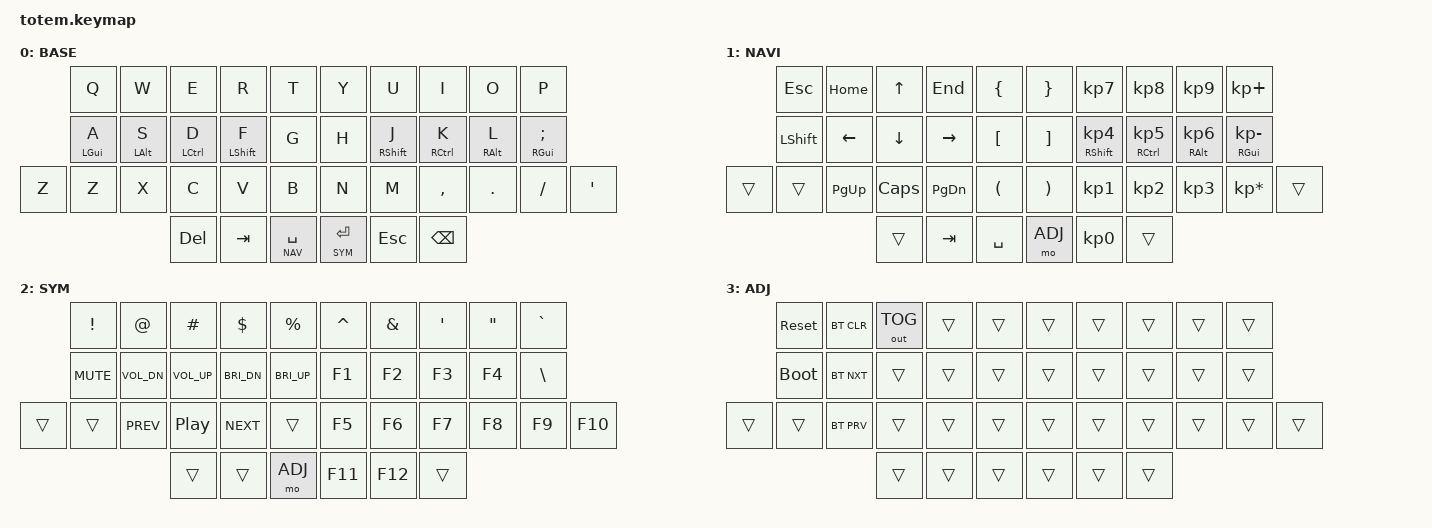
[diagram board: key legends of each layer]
//
//                                                        ▀▀▀▀▀     ▀▀▀▀▀          ▀▀█▀▀
//                                                        ▄▀▀▀▄  ▄  ▄▀▀▀▄  ▄  ▄▀▀▀▄  █  ▄▀▀▀▄
//                                                        █   █  █  █   █  █  █   █  █  █   █
//                                                         ▀▀▀   █   ▀▀▀   █   ▀▀▀   ▀   ▀▀▀
//                                                               █      ▄▄▄█▄▄▄    █   █  
//                                                               ▀      █  █  █     █▄█
//                                                             ▀▀▀▀▀    █  █  █      ▀
//                                                                      ▀  ▀  ▀
//
// ▄▄▄▄▄▄▄▄▄▄▄▄▄▄▄▄▄▄▄▄▄▄▄▄▄▄▄▄▄▄▄▄▄▄▄▄▄▄▄▄▄▄▄▄▄▄▄▄▄▄▄▄▄▄▄▄▄▄▄▄▄▄▄▄▄▄▄▄▄▄▄▄▄▄▄▄▄▄▄▄▄▄▄▄▄▄▄▄▄▄▄▄▄▄▄▄▄▄▄▄▄▄▄▄▄▄▄▄▄▄▄▄▄▄▄▄▄▄▄▄▄▄▄▄▄▄▄▄▄▄▄▄▄▄▄▄▄▄▄▄▄▄▄▄▄▄▄▄▄
       

#include <behaviors.dtsi>
#include <dt-bindings/zmk/keys.h>
#include <dt-bindings/zmk/bt.h>
#include <dt-bindings/zmk/outputs.h>

#define BASE 0
#define NAV  1
#define SYM  2
#define ADJ  3

&mt {
  quick-tap-ms = <100>;
  global-quick-tap;
  flavor = "tap-preferred";
  tapping-term-ms = <170>;
};

/ {
    combos {
            compatible = "zmk,combos";
            combo_esc {
                timeout-ms = <50>;
                key-positions = <0 1>;
                bindings = <&kp ESC>;
            };
    };

    macros {
        gif: gif {
            label = "giphy";
            compatible = "zmk,behavior-macro";
            #binding-cells = <0>;
            bindings
                = <&macro_press &kp LSHFT>
                , <&macro_tap &kp N2>
                , <&macro_release &kp LSHFT>
                , <&macro_tap &kp G &kp I &kp F>
                ;
        };
    };

        keymap {
                compatible = "zmk,keymap";
// ▄▄▄▄▄▄▄▄▄▄▄▄▄▄▄▄▄▄▄▄▄▄▄▄▄▄▄▄▄▄▄▄▄▄▄▄▄▄▄▄▄▄▄▄▄▄▄▄▄▄▄▄▄▄▄▄▄▄▄▄▄▄▄▄▄▄▄▄▄▄▄▄▄▄▄▄▄▄▄▄▄▄▄▄▄▄▄▄▄▄▄▄▄▄▄▄▄▄▄▄▄▄▄▄▄▄▄▄▄▄▄▄▄▄▄▄▄▄▄▄▄▄▄▄▄▄▄▄▄▄▄▄▄▄▄▄▄▄▄▄▄▄▄▄▄▄▄▄▄

                base_layer {
// ┏━━━━━━━━━━━━━━━━━━━━━━━━━━━━━━━━━━━━━━━┓
label= "BASE"                              ;
// ┗━━━━━━━━━━━━━━━━━━━━━━━━━━━━━━━━━━━━━━━┛
//             ┏━━━━━━━━━━━┳━━━━━━━━━━━┳━━━━━━━━━━━┳━━━━━━━━━━━┳━━━━━━━━━━━┓   ┏━━━━━━━━━━━┳━━━━━━━━━━━┳━━━━━━━━━━━┳━━━━━━━━━━━┳━━━━━━━━━━━┓
//             ┃     Q     ┃     W     ┃     E     ┃     R     ┃     T     ┃   ┃     Y     ┃     U     ┃     I     ┃     O     ┃     P     ┃
//             ┣━━━━━━━━━━━╋━━━━━━━━━━━╋━━━━━━━━━━━╋━━━━━━━━━━━╋━━━━━━━━━━━┫   ┣━━━━━━━━━━━╋━━━━━━━━━━━╋━━━━━━━━━━━╋━━━━━━━━━━━╋━━━━━━━━━━━┫
//             ┃     A     ┃     S     ┃     D     ┃     F     ┃     G     ┃   ┃     H     ┃     J     ┃     K     ┃     L     ┃     ;     ┃
// ┏━━━━━━━━━━━╋━━━━━━━━━━━╋━━━━━━━━━━━╋━━━━━━━━━━━╋━━━━━━━━━━━╋━━━━━━━━━━━┫   ┣━━━━━━━━━━━╋━━━━━━━━━━━╋━━━━━━━━━━━╋━━━━━━━━━━━╋━━━━━━━━━━━╋━━━━━━━━━━━┓
// ┃           ┃     Z     ┃     X     ┃     C     ┃     V     ┃     B     ┃   ┃     N     ┃     M     ┃     ,     ┃     .     ┃     /     ┃     "     ┃
// ┗━━━━━━━━━━━┻━━━━━━━━━━━┻━━━━━━━━━━━╋━━━━━━━━━━━╋━━━━━━━━━━━╋━━━━━━━━━━━┫   ┣━━━━━━━━━━━╋━━━━━━━━━━━╋━━━━━━━━━━━╋━━━━━━━━━━━┻━━━━━━━━━━━┻━━━━━━━━━━━┛
//                                     ┃    DEL    ┃    TAB    ┃    SPC    ┃   ┃   ENTER   ┃    ESC    ┃    BSPC   ┃
//                                     ┗━━━━━━━━━━━┻━━━━━━━━━━━┻━━━━━━━━━━━┛   ┗━━━━━━━━━━━┻━━━━━━━━━━━┻━━━━━━━━━━━┛
 bindings = <
// ╷           ╷           ╷           ╷           ╷           ╷           ╷   ╷           ╷           ╷           ╷           ╷           ╷           ╷

                &kp Q       &kp W       &kp E       &kp R       &kp T           &kp Y       &kp U       &kp I       &kp O       &kp P
                &mt LGUI A  &mt LALT S  &mt LCTRL D &mt LSHFT F &kp G           &kp H       &mt RSHFT J &mt RCTRL K &mt RALT L  &mt RGUI SEMI
    &kp Z       &kp Z       &kp X       &kp C       &kp V       &kp B           &kp N       &kp M       &kp COMMA   &kp DOT     &kp FSLH    &kp SQT
                                        &kp DEL     &kp TAB     &lt NAV SPACE   &lt SYM RET &kp ESC    &kp BSPC
                        >;
                };

// ▄▄▄▄▄▄▄▄▄▄▄▄▄▄▄▄▄▄▄▄▄▄▄▄▄▄▄▄▄▄▄▄▄▄▄▄▄▄▄▄▄▄▄▄▄▄▄▄▄▄▄▄▄▄▄▄▄▄▄▄▄▄▄▄▄▄▄▄▄▄▄▄▄▄▄▄▄▄▄▄▄▄▄▄▄▄▄▄▄▄▄▄▄▄▄▄▄▄▄▄▄▄▄▄▄▄▄▄▄▄▄▄▄▄▄▄▄▄▄▄▄▄▄▄▄▄▄▄▄▄▄▄▄▄▄▄▄▄▄▄▄▄▄▄▄▄▄▄▄


                nav_layer {
// ┏━━━━━━━━━━━━━━━━━━━━━━━━━━━━━━━━━━━━━━━┓
label= "NAVI"                              ;
// ┗━━━━━━━━━━━━━━━━━━━━━━━━━━━━━━━━━━━━━━━┛
//             ┏━━━━━━━━━━━┳━━━━━━━━━━━┳━━━━━━━━━━━┳━━━━━━━━━━━┳━━━━━━━━━━━┓   ┏━━━━━━━━━━━┳━━━━━━━━━━━┳━━━━━━━━━━━┳━━━━━━━━━━━┳━━━━━━━━━━━┓
//             ┃           ┃   Home    ┃     UP    ┃    End    ┃     {     ┃   ┃     }     ┃     7     ┃     8     ┃     9     ┃     +     ┃
//             ┣━━━━━━━━━━━╋━━━━━━━━━━━╋━━━━━━━━━━━╋━━━━━━━━━━━╋━━━━━━━━━━━┫   ┣━━━━━━━━━━━╋━━━━━━━━━━━╋━━━━━━━━━━━╋━━━━━━━━━━━╋━━━━━━━━━━━┫
//             ┃   SHIFT   ┃   LEFT    ┃    DOWN   ┃   RIGHT   ┃     [     ┃   ┃     ]     ┃     4     ┃     5     ┃     6     ┃     -     ┃
// ┏━━━━━━━━━━━╋━━━━━━━━━━━╋━━━━━━━━━━━╋━━━━━━━━━━━╋━━━━━━━━━━━╋━━━━━━━━━━━┫   ┣━━━━━━━━━━━╋━━━━━━━━━━━╋━━━━━━━━━━━╋━━━━━━━━━━━╋━━━━━━━━━━━╋━━━━━━━━━━━┓
// ┃           ┃           ┃   P UP    ┃  C LOCK   ┃  P DOWN   ┃     (     ┃   ┃     )     ┃     1     ┃     2     ┃     3     ┃     *     ┃           ┃
// ┗━━━━━━━━━━━┻━━━━━━━━━━━┻━━━━━━━━━━━╋━━━━━━━━━━━╋━━━━━━━━━━━╋━━━━━━━━━━━┫   ┣━━━━━━━━━━━╋━━━━━━━━━━━╋━━━━━━━━━━━╋━━━━━━━━━━━┻━━━━━━━━━━━┻━━━━━━━━━━━┛
//                                     ┃           ┃    TAB    ┃    SPC    ┃   ┃    ADJ    ┃     0     ┃           ┃
//                                     ┗━━━━━━━━━━━┻━━━━━━━━━━━┻━━━━━━━━━━━┛   ┗━━━━━━━━━━━┻━━━━━━━━━━━┻━━━━━━━━━━━┛
 bindings = <
// ╷           ╷           ╷           ╷           ╷           ╷           ╷   ╷           ╷           ╷           ╷           ╷           ╷           ╷

                &kp ESC     &kp HOME    &kp UP      &kp END     &kp LBRC        &kp RBRC    &kp KP_N7   &kp KP_N8   &kp KP_N9   &kp KP_PLUS
                &kp LSHFT   &kp LEFT    &kp DOWN    &kp RIGHT   &kp LBKT        &kp RBKT    &mt RSHFT KP_N4 &mt RCTRL KP_N5 &mt RALT KP_N6 &mt RGUI KP_MINUS
    &trans      &trans      &kp PG_UP   &kp CAPS    &kp PG_DN   &kp LPAR        &kp RPAR    &kp KP_N1   &kp KP_N2   &kp KP_N3   &kp KP_MULTIPLY &trans      
                                        &trans      &kp TAB     &kp SPACE       &mo ADJ     &kp KP_N0   &trans      
                        >;
                };

// ▄▄▄▄▄▄▄▄▄▄▄▄▄▄▄▄▄▄▄▄▄▄▄▄▄▄▄▄▄▄▄▄▄▄▄▄▄▄▄▄▄▄▄▄▄▄▄▄▄▄▄▄▄▄▄▄▄▄▄▄▄▄▄▄▄▄▄▄▄▄▄▄▄▄▄▄▄▄▄▄▄▄▄▄▄▄▄▄▄▄▄▄▄▄▄▄▄▄▄▄▄▄▄▄▄▄▄▄▄▄▄▄▄▄▄▄▄▄▄▄▄▄▄▄▄▄▄▄▄▄▄▄▄▄▄▄▄▄▄▄▄▄▄▄▄▄▄▄▄


                sim_layer {
// ┏━━━━━━━━━━━━━━━━━━━━━━━━━━━━━━━━━━━━━━━┓
label= "SYM"                               ;
// ┗━━━━━━━━━━━━━━━━━━━━━━━━━━━━━━━━━━━━━━━┛
//             ┏━━━━━━━━━━━┳━━━━━━━━━━━┳━━━━━━━━━━━┳━━━━━━━━━━━┳━━━━━━━━━━━┓   ┏━━━━━━━━━━━┳━━━━━━━━━━━┳━━━━━━━━━━━┳━━━━━━━━━━━┳━━━━━━━━━━━┓
//             ┃     !     ┃     @     ┃     #     ┃     $     ┃     %     ┃   ┃     ˆ     ┃     &     ┃     '     ┃     "     ┃     `     ┃
//             ┣━━━━━━━━━━━╋━━━━━━━━━━━╋━━━━━━━━━━━╋━━━━━━━━━━━╋━━━━━━━━━━━┫   ┣━━━━━━━━━━━╋━━━━━━━━━━━╋━━━━━━━━━━━╋━━━━━━━━━━━╋━━━━━━━━━━━┫
//             ┃   MUTE    ┃    VOL-   ┃    VOL+   ┃    bri-   ┃    bri+   ┃   ┃     F1    ┃    F2     ┃    F3     ┃    F4     ┃     \     ┃
// ┏━━━━━━━━━━━╋━━━━━━━━━━━╋━━━━━━━━━━━╋━━━━━━━━━━━╋━━━━━━━━━━━╋━━━━━━━━━━━┫   ┣━━━━━━━━━━━╋━━━━━━━━━━━╋━━━━━━━━━━━╋━━━━━━━━━━━╋━━━━━━━━━━━╋━━━━━━━━━━━┓
// ┃           ┃           ┃    LAST   ┃ play/pause┃    NEXT   ┃           ┃   ┃     F5    ┃    F6     ┃     F7    ┃    F8     ┃     F9    ┃    F10    ┃
// ┗━━━━━━━━━━━┻━━━━━━━━━━━┻━━━━━━━━━━━╋━━━━━━━━━━━╋━━━━━━━━━━━╋━━━━━━━━━━━┫   ┣━━━━━━━━━━━╋━━━━━━━━━━━╋━━━━━━━━━━━╋━━━━━━━━━━━┻━━━━━━━━━━━┻━━━━━━━━━━━┛
//                                     ┃           ┃           ┃    ADJ    ┃   ┃     F11   ┃    F12    ┃           ┃
//                                     ┗━━━━━━━━━━━┻━━━━━━━━━━━┻━━━━━━━━━━━┛   ┗━━━━━━━━━━━┻━━━━━━━━━━━┻━━━━━━━━━━━┛
 bindings = <
// ╷           ╷           ╷           ╷           ╷           ╷           ╷   ╷           ╷           ╷           ╷           ╷           ╷           ╷

                &kp EXCL    &kp AT      &kp HASH    &kp DLLR    &kp PRCNT       &kp CARET   &kp AMPS    &kp SQT     &kp DQT     &kp GRAVE        
                &kp C_MUTE  &kp C_VOL_DN &kp C_VOL_UP &kp C_BRI_DN &kp C_BRI_UP &kp F1      &kp F2      &kp F3      &kp F4      &kp BSLH   
    &trans      &trans      &kp C_PREV  &kp C_PP    &kp C_NEXT  &trans          &kp F5      &kp F6      &kp F7      &kp F8      &kp F9       &kp F10         
                                        &trans      &trans      &mo ADJ         &kp F11     &kp F12     &trans      
                        >;
                };

// ▄▄▄▄▄▄▄▄▄▄▄▄▄▄▄▄▄▄▄▄▄▄▄▄▄▄▄▄▄▄▄▄▄▄▄▄▄▄▄▄▄▄▄▄▄▄▄▄▄▄▄▄▄▄▄▄▄▄▄▄▄▄▄▄▄▄▄▄▄▄▄▄▄▄▄▄▄▄▄▄▄▄▄▄▄▄▄▄▄▄▄▄▄▄▄▄▄▄▄▄▄▄▄▄▄▄▄▄▄▄▄▄▄▄▄▄▄▄▄▄▄▄▄▄▄▄▄▄▄▄▄▄▄▄▄▄▄▄▄▄▄▄▄▄▄▄▄▄▄


                adjust_layer {
// ┏━━━━━━━━━━━━━━━━━━━━━━━━━━━━━━━━━━━━━━━┓
label= "ADJ"                               ;
// ┗━━━━━━━━━━━━━━━━━━━━━━━━━━━━━━━━━━━━━━━┛
//             ┏━━━━━━━━━━━┳━━━━━━━━━━━┳━━━━━━━━━━━┳━━━━━━━━━━━┳━━━━━━━━━━━┓   ┏━━━━━━━━━━━┳━━━━━━━━━━━┳━━━━━━━━━━━┳━━━━━━━━━━━┳━━━━━━━━━━━┓
//             ┃   RESET   ┃ BT CLEAR  ┃  OUT TOG  ┃           ┃           ┃   ┃           ┃           ┃           ┃           ┃           ┃
//             ┣━━━━━━━━━━━╋━━━━━━━━━━━╋━━━━━━━━━━━╋━━━━━━━━━━━╋━━━━━━━━━━━┫   ┣━━━━━━━━━━━╋━━━━━━━━━━━╋━━━━━━━━━━━╋━━━━━━━━━━━╋━━━━━━━━━━━┫
//             ┃ BOOTLOAD  ┃ BT NEXT   ┃           ┃           ┃           ┃   ┃           ┃           ┃           ┃           ┃           ┃
// ┏━━━━━━━━━━━╋━━━━━━━━━━━╋━━━━━━━━━━━╋━━━━━━━━━━━╋━━━━━━━━━━━╋━━━━━━━━━━━┫   ┣━━━━━━━━━━━╋━━━━━━━━━━━╋━━━━━━━━━━━╋━━━━━━━━━━━╋━━━━━━━━━━━╋━━━━━━━━━━━┓
// ┃           ┃           ┃ BT PREV   ┃           ┃           ┃           ┃   ┃           ┃           ┃           ┃           ┃           ┃           ┃
// ┗━━━━━━━━━━━┻━━━━━━━━━━━┻━━━━━━━━━━━╋━━━━━━━━━━━╋━━━━━━━━━━━╋━━━━━━━━━━━┫   ┣━━━━━━━━━━━╋━━━━━━━━━━━╋━━━━━━━━━━━╋━━━━━━━━━━━┻━━━━━━━━━━━┻━━━━━━━━━━━┛
//                                     ┃           ┃           ┃           ┃   ┃           ┃           ┃           ┃
//                                     ┗━━━━━━━━━━━┻━━━━━━━━━━━┻━━━━━━━━━━━┛   ┗━━━━━━━━━━━┻━━━━━━━━━━━┻━━━━━━━━━━━┛
 bindings = <
// ╷           ╷           ╷           ╷           ╷           ╷           ╷   ╷           ╷           ╷           ╷           ╷           ╷           ╷

                &sys_reset  &bt BT_CLR &out OUT_TOG &trans      &trans          &trans      &trans      &trans      &trans      &trans
                &bootloader &bt BT_NXT  &trans      &trans      &trans          &trans      &trans      &trans      &trans      &trans  
    &trans      &trans      &bt BT_PRV  &trans      &trans      &trans          &trans      &trans      &trans      &trans      &trans     &trans         
                                        &trans      &trans      &trans          &trans      &trans      &trans      
                        >;
                };
        };
};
